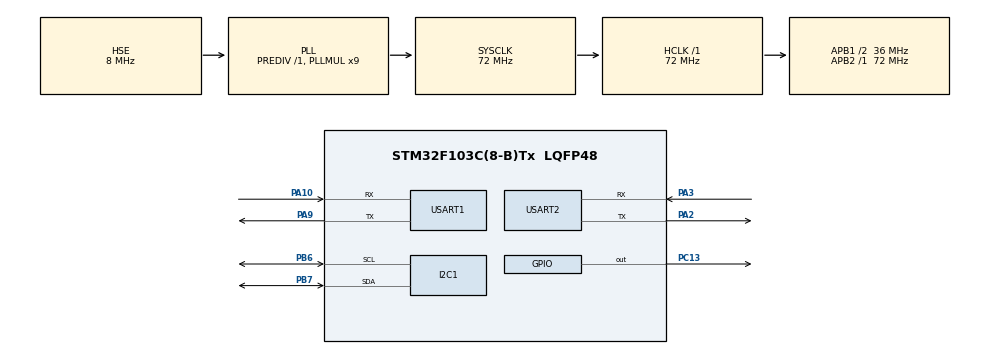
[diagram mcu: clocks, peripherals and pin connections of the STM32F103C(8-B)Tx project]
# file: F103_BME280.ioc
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Dma.Request0=TIM1_UP
Dma.TIM1_UP.0.Direction=DMA_MEMORY_TO_PERIPH
Dma.TIM1_UP.0.Instance=DMA1_Channel5
Dma.TIM1_UP.0.MemDataAlignment=DMA_MDATAALIGN_WORD
Dma.TIM1_UP.0.MemInc=DMA_MINC_ENABLE
Dma.TIM1_UP.0.Mode=DMA_CIRCULAR
Dma.TIM1_UP.0.PeriphDataAlignment=DMA_PDATAALIGN_WORD
Dma.TIM1_UP.0.PeriphInc=DMA_PINC_DISABLE
Dma.TIM1_UP.0.Priority=DMA_PRIORITY_LOW
I2C1.I2C_Mode=I2C_Fast
Mcu.Family=STM32F1
Mcu.Name=STM32F103C(8-B)Tx
Mcu.Package=LQFP48
NVIC.DMA1_Channel5_IRQn=true\:0\:0\:false\:false\:true\:false\:true\:true
NVIC.PriorityGroup=NVIC_PRIORITYGROUP_4
NVIC.TIM2_IRQn=true\:0\:0\:false\:false\:true\:true\:true\:true
PA10.Mode=Asynchronous
PA10.Signal=USART1_RX
PA13.Mode=Serial_Wire
PA13.Signal=SYS_JTMS-SWDIO
PA14.Mode=Serial_Wire
PA14.Signal=SYS_JTCK-SWCLK
PA2.Mode=Asynchronous
PA2.Signal=USART2_TX
PA3.Mode=Asynchronous
PA3.Signal=USART2_RX
PA9.Mode=Asynchronous
PA9.Signal=USART1_TX
PB6.Mode=I2C
PB6.Signal=I2C1_SCL
PB7.Mode=I2C
PB7.Signal=I2C1_SDA
PC13-TAMPER-RTC.Signal=GPIO_Output
PD0-OSC_IN.Mode=HSE-External-Oscillator
PD0-OSC_IN.Signal=RCC_OSC_IN
PD1-OSC_OUT.Mode=HSE-External-Oscillator
PD1-OSC_OUT.Signal=RCC_OSC_OUT
ProjectManager.HeapSize=0x200
ProjectManager.StackSize=0x400
ProjectManager.TargetToolchain=STM32CubeIDE
RCC.AHBFreq_Value=72000000
RCC.APB1CLKDivider=RCC_HCLK_DIV2
RCC.APB1Freq_Value=36000000
RCC.APB1TimFreq_Value=72000000
RCC.APB2Freq_Value=72000000
RCC.APB2TimFreq_Value=72000000
RCC.HCLKFreq_Value=72000000
RCC.PLLMUL=RCC_PLL_MUL9
RCC.PLLSourceVirtual=RCC_PLLSOURCE_HSE
RCC.SYSCLKFreq_VALUE=72000000
RCC.SYSCLKSource=RCC_SYSCLKSOURCE_PLLCLK
RCC.USBFreq_Value=72000000
TIM1.Period=100-1
TIM1.TIM_MasterOutputTrigger=TIM_TRGO_UPDATE
TIM2.AutoReloadPreload=TIM_AUTORELOAD_PRELOAD_ENABLE
TIM2.Period=12-1
TIM2.Prescaler=6000-1
USART1.VirtualMode=VM_ASYNC
USART2.VirtualMode=VM_ASYNC
VP_TIM1_VS_ClockSourceINT.Mode=Internal
VP_TIM2_VS_ClockSourceINT.Mode=Internal
board=custom

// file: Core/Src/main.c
/* USER CODE BEGIN Header */
/**
  ******************************************************************************
  * @file           : main.c
  * @brief          : Main program body
  ******************************************************************************
  * @attention
  *
  * Copyright (c) 2022 STMicroelectronics.
  * All rights reserved.
  *
  * This software is licensed under terms that can be found in the LICENSE file
  * in the root directory of this software component.
  * If no LICENSE file comes with this software, it is provided AS-IS.
  *
  ******************************************************************************
  */
/* USER CODE END Header */
#include "main.h"

/* USER CODE BEGIN Includes */
#include <stdio.h>
#include <string.h>
#include "ssd1306.h"
#include "fonts.h"
#include "test.h"
#include "bme280.h"
/* USER CODE END Includes */

/* USER CODE BEGIN PD */
#define lengthSoftPWMbuffer 100
/* USER CODE END PD */

I2C_HandleTypeDef hi2c1;

TIM_HandleTypeDef htim1;
TIM_HandleTypeDef htim2;
DMA_HandleTypeDef hdma_tim1_up;

UART_HandleTypeDef huart1;
UART_HandleTypeDef huart2;

/* USER CODE BEGIN PV */
uint32_t dataC[lengthSoftPWMbuffer];
uint16_t duty_down=0;
uint16_t duty=0;
/* USER CODE END PV */

void SystemClock_Config(void);
static void MX_GPIO_Init(void);
static void MX_DMA_Init(void);
static void MX_I2C1_Init(void);
static void MX_USART1_UART_Init(void);
static void MX_USART2_UART_Init(void);
static void MX_TIM1_Init(void);
static void MX_TIM2_Init(void);
/* USER CODE BEGIN PFP */
float temperature;
float humidity;
float pressure;

struct bme280_dev dev;
struct bme280_data comp_data;
int8_t rslt;

char hum_string[50];
char temp_string[50];
char press_string[50];
char duty_string[50];

int8_t user_i2c_read(uint8_t id, uint8_t reg_addr, uint8_t *data, uint16_t len)
{
  if(HAL_I2C_Master_Transmit(&hi2c1, (id << 1), &reg_addr, 1, 10) != HAL_OK) return -1;
  if(HAL_I2C_Master_Receive(&hi2c1, (id << 1) | 0x01, data, len, 10) != HAL_OK) return -1;

  return 0;
}

void user_delay_ms(uint32_t period)
{
  HAL_Delay(period);
}

int8_t user_i2c_write(uint8_t id, uint8_t reg_addr, uint8_t *data, uint16_t len)
{
  int8_t *buf;
  buf = malloc(len +1);
  buf[0] = reg_addr;
  memcpy(buf +1, data, len);

  if(HAL_I2C_Master_Transmit(&hi2c1, (id << 1), (uint8_t*)buf, len + 1, HAL_MAX_DELAY) != HAL_OK) return -1;

  free(buf);
  return 0;
}

void zeroSoftPWM(uint32_t softpwmbuffer[])
{
	for (uint32_t i = 0;  i < lengthSoftPWMbuffer; ++ i)
	{
			softpwmbuffer[i]=0;
	}
}

void setSoftPWM(uint16_t pin, uint32_t duty ,uint32_t *softpwmbuffer)
{
	for (uint32_t i = 0;  i < lengthSoftPWMbuffer; ++ i)
	{
		if(i<duty)
		{//set pin
			softpwmbuffer[i]&=(uint32_t)~(pin<<16);
			softpwmbuffer[i]|=(uint32_t)pin;
		}
		else
		{//reset pin
			softpwmbuffer[i]&=(uint32_t)~(pin);
			softpwmbuffer[i]|=(uint32_t)pin<<16;
		}
	}

}
/* USER CODE END PFP */

int main(void)
{

  /* MCU Configuration--------------------------------------------------------*/

  /* Reset of all peripherals, Initializes the Flash interface and the Systick. */
  HAL_Init();

  /* Configure the system clock */
  SystemClock_Config();

  /* Initialize all configured peripherals */
  MX_GPIO_Init();
  MX_DMA_Init();
  MX_I2C1_Init();
  MX_USART1_UART_Init();
  MX_USART2_UART_Init();
  MX_TIM1_Init();
  MX_TIM2_Init();
  /* USER CODE BEGIN 2 */

  /* OLED init */
  SSD1306_Init();

  /* BME280 init */
  dev.dev_id = BME280_I2C_ADDR_PRIM;
  dev.intf = BME280_I2C_INTF;
  dev.read = user_i2c_read;
  dev.write = user_i2c_write;
  dev.delay_ms = user_delay_ms;

  rslt = bme280_init(&dev);

  /* BME280 settings */
  dev.settings.osr_h = BME280_OVERSAMPLING_1X;
  dev.settings.osr_p = BME280_OVERSAMPLING_16X;
  dev.settings.osr_t = BME280_OVERSAMPLING_2X;
  dev.settings.filter = BME280_FILTER_COEFF_16;
  rslt = bme280_set_sensor_settings(BME280_OSR_PRESS_SEL | BME280_OSR_TEMP_SEL | BME280_OSR_HUM_SEL | BME280_FILTER_SEL, &dev);

  /* DMA init (SoftPWM) */
  HAL_TIM_Base_Start(&htim1);
  HAL_TIM_Base_Start_IT(&htim2);
  HAL_DMA_Start(&hdma_tim1_up, 	(uint32_t)&(dataC[0]), (uint32_t)&(GPIOC->BSRR), sizeof(dataC)/sizeof(dataC[0]));
  __HAL_TIM_ENABLE_DMA(&htim1, TIM_DMA_UPDATE);
  zeroSoftPWM(dataC);
  /* USER CODE END 2 */

  /* Infinite loop */
  /* USER CODE BEGIN WHILE */
  while (1)
  {
	/* Forced mode setting, switched to SLEEP mode after measurement */
	rslt = bme280_set_sensor_mode(BME280_FORCED_MODE, &dev);
	dev.delay_ms(40);
	/*Get Data */
	rslt = bme280_get_sensor_data(BME280_ALL, &comp_data, &dev);
	if(rslt == BME280_OK)
	{
		temperature = comp_data.temperature / 100.0;
		humidity = comp_data.humidity / 1024.0;
		pressure = comp_data.pressure / 10000.0;

		/*Display Data */
		memset(hum_string, 0, sizeof(hum_string));
		memset(temp_string, 0, sizeof(temp_string));
		memset(press_string, 0, sizeof(press_string));

		sprintf(hum_string, "H:%03.1f %% ", humidity);
		sprintf(temp_string, "T:%03.1f C ", temperature);
		sprintf(press_string, "P:%03.1f hPa ", pressure);

		SSD1306_GotoXY (0, 0);
		SSD1306_Puts (hum_string, &Font_11x18, 1);
		SSD1306_GotoXY (0, 20);
		SSD1306_Puts (temp_string, &Font_11x18, 1);
		SSD1306_GotoXY (0, 40);
		SSD1306_Puts (press_string, &Font_11x18, 1);
		SSD1306_UpdateScreen();
	}
	HAL_Delay(100);
    /* USER CODE END WHILE */

  }
}

void SystemClock_Config(void)
{
  RCC_OscInitTypeDef RCC_OscInitStruct = {0};
  RCC_ClkInitTypeDef RCC_ClkInitStruct = {0};

  /** Initializes the RCC Oscillators according to the specified parameters
  * in the RCC_OscInitTypeDef structure.
  */
  RCC_OscInitStruct.OscillatorType = RCC_OSCILLATORTYPE_HSE;
  RCC_OscInitStruct.HSEState = RCC_HSE_ON;
  RCC_OscInitStruct.HSEPredivValue = RCC_HSE_PREDIV_DIV1;
  RCC_OscInitStruct.HSIState = RCC_HSI_ON;
  RCC_OscInitStruct.PLL.PLLState = RCC_PLL_ON;
  RCC_OscInitStruct.PLL.PLLSource = RCC_PLLSOURCE_HSE;
  RCC_OscInitStruct.PLL.PLLMUL = RCC_PLL_MUL9;
  if (HAL_RCC_OscConfig(&RCC_OscInitStruct) != HAL_OK)
  {
    Error_Handler();
  }

  /** Initializes the CPU, AHB and APB buses clocks
  */
  RCC_ClkInitStruct.ClockType = RCC_CLOCKTYPE_HCLK|RCC_CLOCKTYPE_SYSCLK
                              |RCC_CLOCKTYPE_PCLK1|RCC_CLOCKTYPE_PCLK2;
  RCC_ClkInitStruct.SYSCLKSource = RCC_SYSCLKSOURCE_PLLCLK;
  RCC_ClkInitStruct.AHBCLKDivider = RCC_SYSCLK_DIV1;
  RCC_ClkInitStruct.APB1CLKDivider = RCC_HCLK_DIV2;
  RCC_ClkInitStruct.APB2CLKDivider = RCC_HCLK_DIV1;

  if (HAL_RCC_ClockConfig(&RCC_ClkInitStruct, FLASH_LATENCY_2) != HAL_OK)
  {
    Error_Handler();
  }
}

static void MX_I2C1_Init(void)
{

  hi2c1.Instance = I2C1;
  hi2c1.Init.ClockSpeed = 400000;
  hi2c1.Init.DutyCycle = I2C_DUTYCYCLE_2;
  hi2c1.Init.OwnAddress1 = 0;
  hi2c1.Init.AddressingMode = I2C_ADDRESSINGMODE_7BIT;
  hi2c1.Init.DualAddressMode = I2C_DUALADDRESS_DISABLE;
  hi2c1.Init.OwnAddress2 = 0;
  hi2c1.Init.GeneralCallMode = I2C_GENERALCALL_DISABLE;
  hi2c1.Init.NoStretchMode = I2C_NOSTRETCH_DISABLE;
  if (HAL_I2C_Init(&hi2c1) != HAL_OK)
  {
    Error_Handler();
  }

}

static void MX_TIM1_Init(void)
{

  TIM_ClockConfigTypeDef sClockSourceConfig = {0};
  TIM_MasterConfigTypeDef sMasterConfig = {0};

  htim1.Instance = TIM1;
  htim1.Init.Prescaler = 0;
  htim1.Init.CounterMode = TIM_COUNTERMODE_UP;
  htim1.Init.Period = 100-1;
  htim1.Init.ClockDivision = TIM_CLOCKDIVISION_DIV1;
  htim1.Init.RepetitionCounter = 0;
  htim1.Init.AutoReloadPreload = TIM_AUTORELOAD_PRELOAD_DISABLE;
  if (HAL_TIM_Base_Init(&htim1) != HAL_OK)
  {
    Error_Handler();
  }
  sClockSourceConfig.ClockSource = TIM_CLOCKSOURCE_INTERNAL;
  if (HAL_TIM_ConfigClockSource(&htim1, &sClockSourceConfig) != HAL_OK)
  {
    Error_Handler();
  }
  sMasterConfig.MasterOutputTrigger = TIM_TRGO_UPDATE;
  sMasterConfig.MasterSlaveMode = TIM_MASTERSLAVEMODE_DISABLE;
  if (HAL_TIMEx_MasterConfigSynchronization(&htim1, &sMasterConfig) != HAL_OK)
  {
    Error_Handler();
  }

}

static void MX_TIM2_Init(void)
{

  TIM_ClockConfigTypeDef sClockSourceConfig = {0};
  TIM_MasterConfigTypeDef sMasterConfig = {0};

  htim2.Instance = TIM2;
  htim2.Init.Prescaler = 6000-1;
  htim2.Init.CounterMode = TIM_COUNTERMODE_UP;
  htim2.Init.Period = 12-1;
  htim2.Init.ClockDivision = TIM_CLOCKDIVISION_DIV1;
  htim2.Init.AutoReloadPreload = TIM_AUTORELOAD_PRELOAD_ENABLE;
  if (HAL_TIM_Base_Init(&htim2) != HAL_OK)
  {
    Error_Handler();
  }
  sClockSourceConfig.ClockSource = TIM_CLOCKSOURCE_INTERNAL;
  if (HAL_TIM_ConfigClockSource(&htim2, &sClockSourceConfig) != HAL_OK)
  {
    Error_Handler();
  }
  sMasterConfig.MasterOutputTrigger = TIM_TRGO_RESET;
  sMasterConfig.MasterSlaveMode = TIM_MASTERSLAVEMODE_DISABLE;
  if (HAL_TIMEx_MasterConfigSynchronization(&htim2, &sMasterConfig) != HAL_OK)
  {
    Error_Handler();
  }

}

static void MX_USART1_UART_Init(void)
{

  huart1.Instance = USART1;
  huart1.Init.BaudRate = 115200;
  huart1.Init.WordLength = UART_WORDLENGTH_8B;
  huart1.Init.StopBits = UART_STOPBITS_1;
  huart1.Init.Parity = UART_PARITY_NONE;
  huart1.Init.Mode = UART_MODE_TX_RX;
  huart1.Init.HwFlowCtl = UART_HWCONTROL_NONE;
  huart1.Init.OverSampling = UART_OVERSAMPLING_16;
  if (HAL_UART_Init(&huart1) != HAL_OK)
  {
    Error_Handler();
  }

}

static void MX_USART2_UART_Init(void)
{

  huart2.Instance = USART2;
  huart2.Init.BaudRate = 115200;
  huart2.Init.WordLength = UART_WORDLENGTH_8B;
  huart2.Init.StopBits = UART_STOPBITS_1;
  huart2.Init.Parity = UART_PARITY_NONE;
  huart2.Init.Mode = UART_MODE_TX_RX;
  huart2.Init.HwFlowCtl = UART_HWCONTROL_NONE;
  huart2.Init.OverSampling = UART_OVERSAMPLING_16;
  if (HAL_UART_Init(&huart2) != HAL_OK)
  {
    Error_Handler();
  }

}

static void MX_DMA_Init(void)
{

  /* DMA controller clock enable */
  __HAL_RCC_DMA1_CLK_ENABLE();

  /* DMA interrupt init */
  /* DMA1_Channel5_IRQn interrupt configuration */
  HAL_NVIC_SetPriority(DMA1_Channel5_IRQn, 0, 0);
  HAL_NVIC_EnableIRQ(DMA1_Channel5_IRQn);

}

static void MX_GPIO_Init(void)
{
  GPIO_InitTypeDef GPIO_InitStruct = {0};

  /* GPIO Ports Clock Enable */
  __HAL_RCC_GPIOC_CLK_ENABLE();
  __HAL_RCC_GPIOD_CLK_ENABLE();
  __HAL_RCC_GPIOA_CLK_ENABLE();
  __HAL_RCC_GPIOB_CLK_ENABLE();

  /*Configure GPIO pin Output Level */
  HAL_GPIO_WritePin(GPIOC, GPIO_PIN_13, GPIO_PIN_RESET);

  /*Configure GPIO pin : PC13 */
  GPIO_InitStruct.Pin = GPIO_PIN_13;
  GPIO_InitStruct.Mode = GPIO_MODE_OUTPUT_PP;
  GPIO_InitStruct.Pull = GPIO_NOPULL;
  GPIO_InitStruct.Speed = GPIO_SPEED_FREQ_LOW;
  HAL_GPIO_Init(GPIOC, &GPIO_InitStruct);

}

/* USER CODE BEGIN 4 */
void HAL_TIM_PeriodElapsedCallback(TIM_HandleTypeDef *htim)
{
	if (htim == &htim2)
	{
	 	duty=(-100*temperature/3)+(2500/3);	// set PWM duty cycle to <0; 100> for temp <22; 25>
		setSoftPWM(GPIO_PIN_13, duty, (uint32_t*)&dataC);
		/*
		if (duty_down==0)
		{
			duty++;
		}
		else
		{
			duty--;
		}
		if(duty>100)
		{
			duty_down=1;
		}
		else if(duty<1)
		{
			duty_down=0;
		}
		*/
	}
}
/* USER CODE END 4 */

void Error_Handler(void)
{
  __disable_irq();
  while (1)
  {
  }
}
